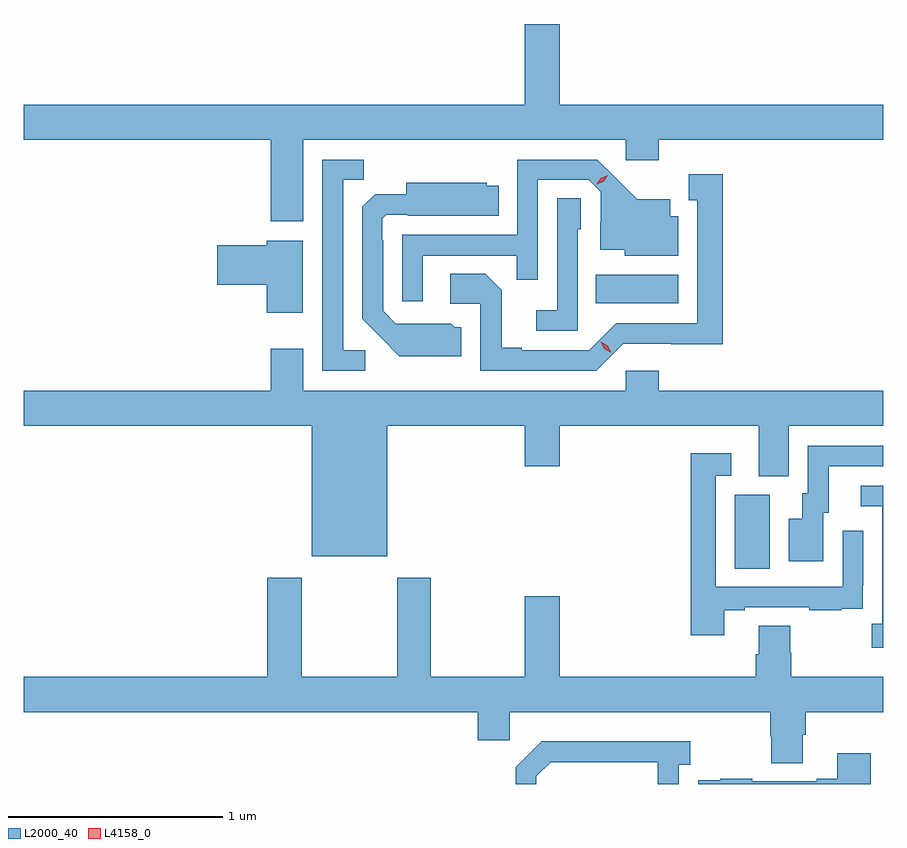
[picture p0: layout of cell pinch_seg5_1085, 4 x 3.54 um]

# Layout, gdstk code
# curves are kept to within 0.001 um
import gdstk
lib = gdstk.Library(unit=1e-6, precision=1e-09)
def R(c, l, rs):  # rectangles x0, y0, x1, y1
    for r in rs: c.add(gdstk.rectangle(r[:2], r[2:], *l))
def P(c, l, *ps):  # polygons
    for p in ps: c.add(gdstk.Polygon(p, *l))
L2000_40 = (2000, 40)
L4158_0 = (4158, 0)

pinch_seg5_1085 = lib.new_cell('pinch_seg5_1085')
R(pinch_seg5_1085, L2000_40, [(789.362,837.448,789.526,837.792), (788.716,838.682,789.1,838.816)])
P(pinch_seg5_1085, L2000_40, [(787.354,839.444),(788.856,839.444),(788.856,839.349),(789.008,839.349),(789.008,839.444),(790.053,839.444),(790.053,839.608),(788.548,839.608),(788.548,839.983),(788.384,839.983),(788.384,839.608),(786.053,839.608),(786.053,839.444),(787.202,839.444),(787.202,839.064),(787.354,839.064)],
  [(787.642,838.464),(787.539,838.464),(787.539,839.257),(787.635,839.257),(787.635,839.352),(787.443,839.352),(787.443,838.368),(787.642,838.368)],
  [(787.911,838.905),(788.347,838.905),(788.347,838.792),(788.445,838.792),(788.445,839.259),(788.682,839.259),(788.739,839.202),(788.739,839.06),(788.735,839.06),(788.735,838.931),(788.85,838.931),(788.85,838.904),(789.1,838.904),(789.1,839.089),(789.061,839.089),(789.061,839.167),(788.909,839.167),(788.722,839.352),(788.349,839.352),(788.349,839.001),(787.815,839.001),(787.815,838.692),(787.911,838.692)],
  [(788.844,838.494),(789.307,838.493),(789.307,839.284),(789.149,839.284),(789.149,839.163),(789.188,839.163),(789.188,838.59),(788.811,838.59),(788.685,838.464),(788.371,838.464),(788.371,838.477),(788.277,838.477),(788.277,838.744),(788.201,838.82),(788.037,838.82),(788.037,838.68),(788.178,838.68),(788.178,838.368),(788.718,838.368)],
  [(788.089,838.572),(788.058,838.572),(788.042,838.588),(787.785,838.587),(787.725,838.647),(787.725,838.976),(787.722,838.976),(787.722,839.076),(787.74,839.094),(787.84,839.094),(787.84,839.09),(788.264,839.09),(788.264,839.23),(788.208,839.23),(788.208,839.245),(787.832,839.245),(787.832,839.191),(787.688,839.191),(787.629,839.132),(787.629,838.61),(787.801,838.436),(788.089,838.436)],
  [(788.631,839.028),(788.646,839.028),(788.646,839.171),(788.535,839.171),(788.535,838.651),(788.439,838.651),(788.439,838.554),(788.631,838.554)],
  [(787.351,838.975),(787.184,838.975),(787.184,838.952),(786.954,838.952),(786.954,838.769),(787.184,838.769),(787.184,838.638),(787.351,838.638)],
  [(787.744,838.112),(788.384,838.112),(788.384,837.924),(788.548,837.924),(788.548,838.112),(789.473,838.112),(789.473,837.877),(789.613,837.877),(789.613,838.112),(790.053,838.112),(790.053,838.276),(789.008,838.276),(789.008,838.369),(788.856,838.369),(788.856,838.276),(787.354,838.276),(787.354,838.471),(787.202,838.471),(787.202,838.276),(786.053,838.276),(786.053,838.112),(787.394,838.112),(787.394,837.506),(787.744,837.506)],
  [(789.775,837.708),(789.799,837.708),(789.799,837.924),(790.053,837.924),(790.053,838.02),(789.702,838.02),(789.702,837.798),(789.677,837.798),(789.677,837.679),(789.614,837.679),(789.614,837.483),(789.775,837.483)],
  [(789.313,837.255),(789.409,837.255),(789.409,837.267),(789.709,837.267),(789.709,837.255),(789.857,837.255),(789.857,837.261),(789.959,837.261),(789.959,837.37),(789.96,837.37),(789.96,837.625),(789.864,837.625),(789.864,837.363),(789.273,837.363),(789.273,837.879),(789.346,837.879),(789.346,837.985),(789.157,837.985),(789.157,837.138),(789.313,837.138)],
  [(790.053,837.834),(789.948,837.834),(789.948,837.738),(790.05,837.738),(790.05,837.19),(789.999,837.19),(789.999,837.08),(790.053,837.08)],
  [(789.679,836.674),(789.692,836.674),(789.692,836.78),(790.053,836.78),(790.053,836.944),(789.626,836.944),(789.626,837.057),(789.621,837.057),(789.621,837.182),(789.473,837.182),(789.473,837.05),(789.461,837.05),(789.461,836.944),(788.548,836.944),(788.548,837.319),(788.384,837.319),(788.384,836.944),(787.947,836.944),(787.947,837.406),(787.792,837.406),(787.792,836.944),(787.347,836.944),(787.347,837.406),(787.187,837.406),(787.187,836.944),(786.053,836.944),(786.053,836.78),(788.165,836.78),(788.165,836.649),(788.316,836.649),(788.316,836.78),(789.527,836.78),(789.527,836.667),(789.532,836.667),(789.532,836.542),(789.679,836.542)],
  [(788.439,836.481),(788.505,836.547),(789.005,836.547),(789.005,836.445),(789.102,836.445),(789.102,836.534),(789.154,836.534),(789.154,836.644),(788.464,836.644),(788.343,836.523),(788.343,836.445),(788.439,836.445)],
  [(789.995,836.587),(789.839,836.587),(789.839,836.47),(789.743,836.47),(789.743,836.457),(789.443,836.457),(789.443,836.47),(789.295,836.47),(789.295,836.463),(789.193,836.463),(789.193,836.445),(789.995,836.445)])
P(pinch_seg5_1085, L4158_0, [(788.721,839.236),(788.721,839.236),(788.739,839.265),(788.771,839.28),(788.771,839.28),(788.771,839.28),(788.753,839.25),(788.722,839.236)],
  [(788.787,838.452),(788.755,838.471),(788.738,838.504),(788.738,838.504),(788.738,838.504),(788.77,838.485),(788.787,838.452),(788.787,838.452)])

lib.write_gds('pinch_seg5_1085.gds')
